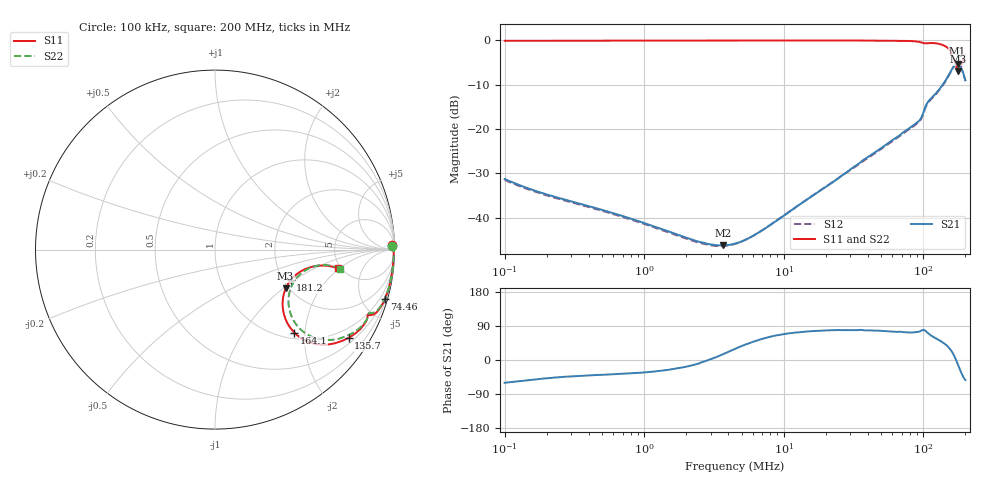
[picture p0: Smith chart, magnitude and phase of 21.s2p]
#  HZ  S  RI  R  50.00
! Rohde & Schwarz Vector Network Analyzer
! Rohde-Schwarz,ZNLE6-2Port,1323001256200024,1.71.1.10-23.02.1.238
! Created: UTC 4/8/2025, 3:15:59 AM
! freq[Hz]  re:S11  im:S11  re:S21  im:S21  re:S12  im:S12  re:S22  im:S22
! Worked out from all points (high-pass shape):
!   1001 points, 100 kHz to 200 MHz, reference 50 ohm
!   highest |S21| = -5.26 dB at 175.8 MHz (marker M1); lowest = -46.2 dB at 3.698 MHz (marker M2)
!   |S21| within 3 dB of the highest: 149.2 MHz to 196.9 MHz (47.63 MHz wide, 27.5 % of centre)
!   lowest |S11| = -7.0 dB at 178.4 MHz (marker M3), VSWR 2.63, Z = 96.2 - j52.2 ohm
!   |S11| at or under -10 dB: nowhere
!   |S22| runs from -6.5 to 0.0 dB; largest |S21 - S12| = 0.0099
!   S11 on the Smith chart (normalised r, x): 100 kHz: 36, +64; 74.46 MHz: 0.35, -7.04; 135.7 MHz: 0.66, -3.21; 164.1 MHz: 1.12, -1.76; 181.2 MHz: 2.18, -0.94; 200 MHz: 4.69, -1.89
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100000  0.9866 0.0235  0.0136 -0.0238  0.0133 -0.0232  0.9869 0.0228
355854.1  0.9894 0.00855  0.0107 -0.00946  0.0104 -0.00922  0.9897 0.00837
1266322  0.9932 0.000629  0.00672 -0.00376  0.00655 -0.00363  0.9934 0.000802
2434628  0.9946 -0.00487  0.00533 -0.000915  0.00521 -0.000806  0.9947 -0.00451
3698190  0.9952 -0.0109  0.0047 0.00133  0.00462 0.00134  0.9957 -0.00868
4472136  0.9952 -0.0135  0.00447 0.0025  0.00438 0.00254  0.9958 -0.0114
7110135  0.9956 -0.0236  0.00404 0.00611  0.00404 0.00614  0.9959 -0.0221
1.591428e7  0.9945 -0.0553  0.00423 0.017  0.00438 0.0171  0.995 -0.0521
3.251501e7  0.9886 -0.1142  0.00738 0.0377  0.00817 0.0367  0.9895 -0.1086
5.663162e7  0.9712 -0.2034  0.0173 0.0682  0.0181 0.0661  0.9737 -0.1938
7.445538e7  0.9475 -0.2739  0.0278 0.0915  0.0286 0.0886  0.9516 -0.2622
9.281667e7  0.8955 -0.3532  0.0326 0.1187  0.0336 0.1154  0.9033 -0.3396
1.016807e8  0.8534 -0.3635  0.0323 0.1626  0.0337 0.1584  0.8632 -0.3518
1.183747e8  0.8319 -0.4148  0.1169 0.2066  0.1161 0.2009  0.8397 -0.3986
1.357305e8  0.745 -0.4913  0.2064 0.2279  0.2031 0.2223  0.7576 -0.47
1.53283e8  0.5836 -0.5287  0.3549 0.2167  0.3491 0.2132  0.6069 -0.5008
1.641358e8  0.4427 -0.4626  0.4847 0.1297  0.4797 0.1254  0.4741 -0.4422
1.757569e8  0.3792 -0.2677  0.5385 -0.0895  0.5318 -0.0934  0.4118 -0.2532
1.784492e8  0.3935 -0.2165  0.5215 -0.1454  0.514 -0.1492  0.4261 -0.2045
1.811826e8  0.4213 -0.1703  0.4919 -0.1962  0.4835 -0.1996  0.4522 -0.1607
1.896369e8  0.5441 -0.0948  0.3606 -0.2884  0.3508 -0.2892  0.5702 -0.0893
2e8  0.6831 -0.105  0.2148 -0.2825  0.2064 -0.2803  0.6944 -0.1054
